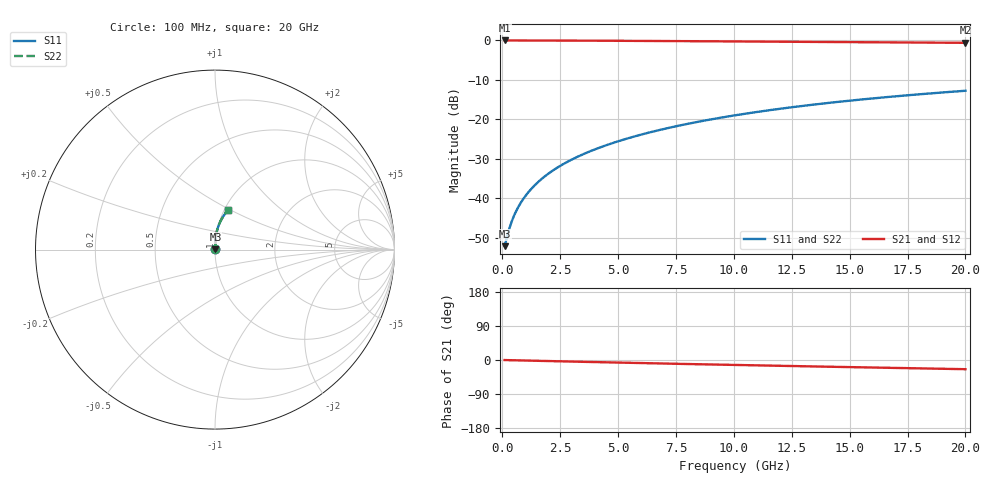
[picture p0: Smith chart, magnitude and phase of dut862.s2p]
! Touchstone file exported from HFSS 2024.1.0
!  File:  C:/UserFiles/LocalFiles/RDL_TSV_Batchsim/temp_RDL_bottom_862_1779864649.aedt
!  Generated:  02:53:20 PM May 27, 2026
!  Design:  RDL_bottom
!  Project:  temp_RDL_bottom_862_1779864649
!  Setup:  Setup1
!  Solution:  Sweep
! Variables:
!  dtsv = 10.80580581um
!  hbump = 3um
!  htsv = 89.07um
!  ldown = 340.8um
!  lrdl = 100um
!  p = 40
!  p1 = 41.98um
!  rhole = 1um
!  t = 450um
!  tdown = 2.9um
!  trdl = 3.915915916um
!  wdown = 21.56um
!  wrdl = 20um
# GHz S MA R 50.000000
! Terminal data exported
! Port[1] = RDL1_T1
! Port[2] = RDL1_T2
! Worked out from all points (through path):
!   200 points, 100 MHz to 20 GHz, reference 50 ohm
!   highest |S21| = -0.02 dB at 100 MHz (marker M1); lowest = -0.6 dB at 20 GHz (marker M2)
!   group delay of S21, straight-line fit = 3.34 ps
!   lowest |S11| = -52.1 dB at 100 MHz (marker M3), VSWR 1.00, Z = 50.2 + j0.116 ohm
!   |S11| at or under -10 dB: start of sweep to end of sweep
!   |S22| runs from -52.1 to -12.8 dB; largest |S21 - S12| = 2.2e-15
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0.1  0.002472 27.8  0.9978 -0.1  0.9978 -0.1  0.002472 27.8
! Gamma 0 0 0 0
! Port Impedance 50 0 50 0
0.3  0.004094 54.8  0.9976 -0.4  0.9976 -0.4  0.004094 54.8
0.4  0.00502 60.7  0.9975 -0.6  0.9975 -0.6  0.00502 60.7
0.5  0.005955 64.8  0.9974 -0.7  0.9974 -0.7  0.005955 64.8
0.6  0.006893 67.9  0.9972 -0.9  0.9972 -0.9  0.006893 67.9
0.8  0.008784 72.3  0.997 -1.1  0.997 -1.1  0.008784 72.3
1  0.0107 75.3  0.9968 -1.4  0.9968 -1.4  0.0107 75.3
1.2  0.01264 77.5  0.9966 -1.7  0.9966 -1.7  0.01264 77.5
1.4  0.0146 79.1  0.9964 -2.0  0.9964 -2.0  0.0146 79.1
1.7  0.01759 81.0  0.996 -2.4  0.996 -2.4  0.01759 81.0
2.2  0.02264 83.0  0.9952 -3.1  0.9952 -3.1  0.02264 83.1
2.8  0.02883 84.6  0.994 -3.9  0.994 -3.9  0.02884 84.6
3.5  0.03623 85.6  0.9924 -4.8  0.9924 -4.8  0.03623 85.6
4.2  0.0438 86.2  0.9906 -5.8  0.9906 -5.8  0.04381 86.2
5  0.05267 86.4  0.9882 -6.8  0.9882 -6.8  0.05268 86.5
6.8  0.07337 86.1  0.982 -9.1  0.982 -9.1  0.07338 86.1
8.4  0.09241 85.0  0.9761 -11.1  0.9761 -11.1  0.09243 85.1
10.1  0.113 83.5  0.9696 -13.1  0.9696 -13.1  0.113 83.5
11.7  0.1325 81.8  0.9634 -15.0  0.9634 -15.0  0.1325 81.8
13.4  0.1531 79.9  0.9569 -17.0  0.9569 -17.0  0.1532 79.9
16.7  0.1924 75.9  0.9441 -20.7  0.9441 -20.7  0.1924 75.9
20  0.2301 71.9  0.9312 -24.3  0.9312 -24.3  0.2302 72.0
